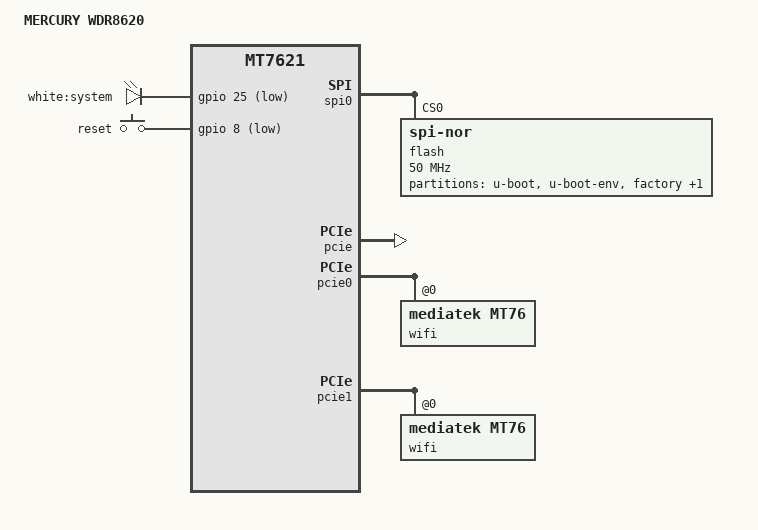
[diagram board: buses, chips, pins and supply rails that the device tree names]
// SPDX-License-Identifier: GPL-2.0-or-later OR MIT

#include "mt7621.dtsi"

#include <dt-bindings/gpio/gpio.h>
#include <dt-bindings/input/input.h>

/ {
	compatible = "mercury,wdr8620", "mediatek,mt7621-soc";
	model = "MERCURY WDR8620";

	aliases {
		label-mac-device = &wan;
		led-boot = &led_system;
		led-failsafe = &led_system;
		led-running = &led_system;
		led-upgrade = &led_system;
	};

	leds {
		compatible = "gpio-leds";

		led_system: system {
			label = "white:system";
			gpios = <&gpio 25 GPIO_ACTIVE_LOW>;
		};
	};

	keys {
		compatible = "gpio-keys";

		reset {
			label = "reset";
			gpios = <&gpio 8 GPIO_ACTIVE_LOW>;
			linux,code = <KEY_RESTART>;
		};
	};
};

&spi0 {
	status = "okay";

	flash@0 {
		compatible = "jedec,spi-nor";
		reg = <0>;
		spi-max-frequency = <50000000>;
		m25p,fast-read;

		partitions {
			compatible = "fixed-partitions";
			#address-cells = <1>;
			#size-cells = <1>;

			partition@0 {
				label = "u-boot";
				reg = <0x0 0x30000>;
				read-only;
			};

			partition@30000 {
				label = "u-boot-env";
				reg = <0x30000 0x10000>;
				read-only;
			};

			factory: partition@40000 {
				label = "factory";
				reg = <0x40000 0x10000>;
				read-only;
			
				compatible = "nvmem-cells";
				#address-cells = <1>;
				#size-cells = <1>;

				macaddr_factory_e000: macaddr@e000 {
					reg = <0xe000 0x6>;
				};

				macaddr_factory_e006: macaddr@e006 {
					reg = <0xe006 0x6>;
				};
			};

			partition@50000 {
				compatible = "denx,uimage";
				label = "firmware";
				reg = <0x50000 0xfb0000>;
			};
		};
	};
};

&state_default {
	gpio {
		groups = "uart3", "rgmii2";
		function = "gpio";
	};
};

&gmac0 {
	nvmem-cells = <&macaddr_factory_e000>;
	nvmem-cell-names = "mac-address";
};

&switch0 {
	ports {
		wan: port@0 {
			status = "okay";
			label = "wan";
			nvmem-cells = <&macaddr_factory_e006>;
			nvmem-cell-names = "mac-address";
		};

		port@1 {
			status = "okay";
			label = "lan1";
		};

		port@2 {
			status = "okay";
			label = "lan2";
		};

		port@3 {
			status = "okay";
			label = "lan3";
		};

		port@4 {
			status = "okay";
			label = "lan4";
		};
	};
};

&pcie {
	status = "okay";
};

&pcie0 {
	wifi@0,0 {
		compatible = "mediatek,mt76";
		reg = <0x0000 0 0 0 0>;
		mediatek,mtd-eeprom = <&factory 0x0>;
		ieee80211-freq-limit = <2400000 2500000>;
	};
};

&pcie1 {
	wifi@0,0 {
		compatible = "mediatek,mt76";
		reg = <0x0000 0 0 0 0>;
		mediatek,mtd-eeprom = <&factory 0x8000>;
		ieee80211-freq-limit = <5000000 6000000>;
	};
};
